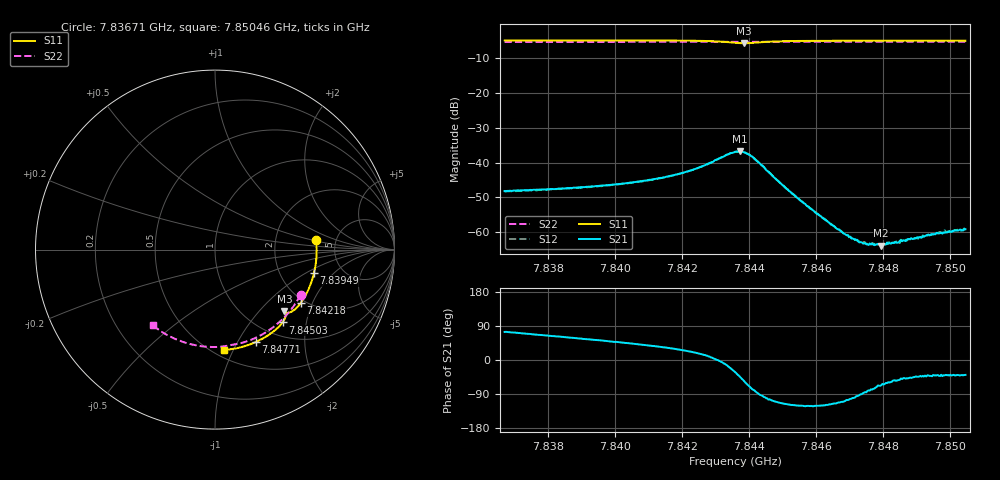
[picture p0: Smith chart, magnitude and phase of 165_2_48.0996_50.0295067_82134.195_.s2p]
#  HZ  S  RI  R  50.00
! Rohde & Schwarz Vector Network Analyzer
! Rohde-Schwarz,ZNB20-2Port,1311601062101988,3.16
! Created: UTC 12/23/2023, 3:51:11 AM
! freq[Hz]  re:S11  im:S11  re:S21  im:S21  re:S12  im:S12  re:S22  im:S22
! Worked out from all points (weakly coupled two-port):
!   401 points, 7.83671 GHz to 7.85046 GHz, reference 50 ohm
!   highest |S21| = -36.74 dB at 7.84372 GHz (marker M1); lowest = -63.8 dB at 7.84795 GHz (marker M2)
!   lowest |S11| = -5.7 dB at 7.84386 GHz (marker M3), VSWR 3.14, Z = 74.1 - j69.5 ohm
!   |S11| at or under -10 dB: nowhere
!   |S22| runs from -5.4 to -5.3 dB; largest |S21 - S12| = 0.00038
!   S11 on the Smith chart (normalised r, x): 7.83671 GHz: 3.51, +0.57; 7.83949 GHz: 3.12, -1.19; 7.84218 GHz: 1.89, -1.65; 7.84503 GHz: 1.25, -1.47; 7.84771 GHz: 0.79, -1.20; 7.85046 GHz: 0.56, -0.92
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7.836709e9  0.5634 0.0549  0.00107 0.00376  0.00109 0.00371  0.4768 -0.2523
7.839013e9  0.5583 -0.0979  0.00244 0.00367  0.00245 0.00367  0.3819 -0.3822
7.839494e9  0.5519 -0.1296  0.00282 0.00366  0.00281 0.00361  0.3573 -0.4054
7.841317e9  0.5092 -0.2459  0.00487 0.00346  0.00484 0.00344  0.2526 -0.4784
7.842176e9  0.4772 -0.2984  0.00688 0.003  0.00682 0.00302  0.1977 -0.5038
7.84307e9  0.4273 -0.3455  0.0112 -4.27e-05  0.0112 4.53e-06  0.138 -0.5227
7.843586e9  0.3914 -0.3502  0.0122 -0.00754  0.0121 -0.00744  0.1034 -0.5291
7.843724e9  0.3869 -0.3465  0.0106 -0.01  0.0105 -0.00991  0.0946 -0.5305
7.843861e9  0.3866 -0.3436  0.00794 -0.0116  0.00774 -0.0117  0.0857 -0.5321
7.844068e9  0.3912 -0.3456  0.00341 -0.0119  0.00335 -0.0119  0.0727 -0.5347
7.844205e9  0.3941 -0.3516  0.00119 -0.0109  0.00124 -0.0109  0.0636 -0.5365
7.84503e9  0.3763 -0.4056  -0.00197 -0.00421  -0.00197 -0.00428  0.00593 -0.5427
7.84589e9  0.3338 -0.4498  -0.00111 -0.0018  -0.00111 -0.0018  -0.0545 -0.5409
7.846578e9  0.2954 -0.4781  -0.000492 -0.00108  -0.000504 -0.00105  -0.1025 -0.5344
7.847059e9  0.2672 -0.4949  -0.000173 -0.000796  -0.000149 -0.00083  -0.1355 -0.5273
7.847334e9  0.2508 -0.5038  -7.35e-06 -0.000725  -3.68e-05 -0.000716  -0.1543 -0.522
7.847713e9  0.2279 -0.5148  0.000159 -0.000646  0.000195 -0.000658  -0.1796 -0.5143
7.847953e9  0.2129 -0.5211  0.000259 -0.000593  0.000272 -0.000573  -0.1954 -0.5085
7.848194e9  0.198 -0.5271  0.00036 -0.000606  0.000395 -0.0006  -0.2112 -0.5023
7.848916e9  0.1521 -0.5421  0.000567 -0.000572  0.000563 -0.000585  -0.2571 -0.481
7.849776e9  0.0963 -0.5545  0.000708 -0.000647  0.000755 -0.000639  -0.3088 -0.45
7.850463e9  0.051 -0.5602  0.000859 -0.000703  0.000797 -0.000709  -0.3475 -0.4214
